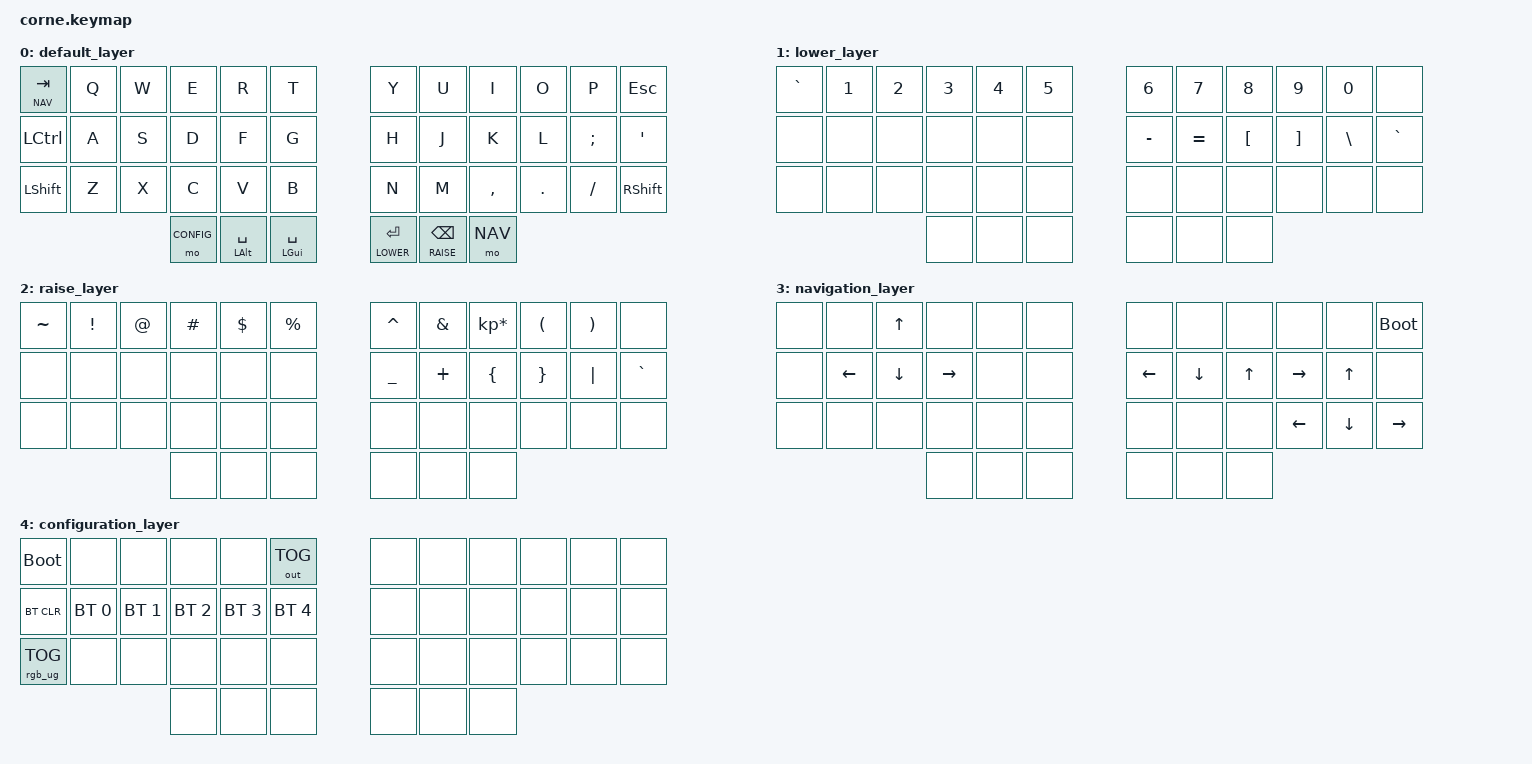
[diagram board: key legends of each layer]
/*
 * Copyright (c) 2020 The ZMK Contributors
 *
 * SPDX-License-Identifier: MIT
 */

#include <behaviors.dtsi>
#include <dt-bindings/zmk/keys.h>
#include <dt-bindings/zmk/bt.h>
#include <dt-bindings/zmk/outputs.h>
#include <dt-bindings/zmk/rgb.h>

#define DEFAULT 0
#define LOWER   1
#define RAISE   2
#define NAV     3
#define CONFIG  4

/ {
        keymap {
                compatible = "zmk,keymap";

                default_layer {
// -----------------------------------------------------------------------------------------
// |  TAB |  Q  |  W  |  E  |  R  |  T  |   |  Y    |  U     |  I  |  O  |  P  | BKSP |
// | CTRL |  A  |  S  |  D  |  F  |  G  |   |  H    |  J     |  K  |  L  |  ;  |  '   |
// | SHFT |  Z  |  X  |  C  |  V  |  B  |   |  N    |  M     |  ,  |  .  |  /  | SHFT |
//         | CONF | LALT-SPC|  LGUI-SPC |   | L-ENT | R-BSPC | N-BSPC |
                        bindings = <
 &lt NAV TAB &kp Q &kp W &kp E &kp R &kp T   &kp Y &kp U  &kp I     &kp O   &kp P    &kp ESC
   &kp LCTRL &kp A &kp S &kp D &kp F &kp G   &kp H &kp J  &kp K     &kp L   &kp SEMI &kp SQT
   &kp LSHFT &kp Z &kp X &kp C &kp V &kp B   &kp N &kp M  &kp COMMA &kp DOT &kp FSLH &kp RSHFT
  &mo CONFIG &mt LALT SPACE &mt LGUI SPACE   &lt LOWER RET &lt RAISE BSPC &mo NAV
                        >;
                };
                lower_layer {
// -----------------------------------------------------------------------------------------
// |   `  |  1  |  2  |  3  |  4  |  5  |   |  6  |  7  |  8  |  9  |  0  | BKSP |
// |      |     |     |     |     |     |   |  -  |  =  |  [  |  ]  |  \  |   `  |
// |      |     |     |     |     |     |   |     |     |     |     |     |      |
//                    |     |     |     |   |     |     |     |
                        bindings = <
   &kp GRAVE  &kp N1       &kp N2       &kp N3       &kp N4       &kp N5            &kp N6    &kp N7    &kp N8   &kp N9   &kp N0   &none
   &none      &none        &none        &none        &none        &none             &kp MINUS &kp EQUAL &kp LBKT &kp RBKT &kp BSLH &kp GRAVE
   &none      &none        &none        &none        &none        &none             &none     &none     &none    &none    &none    &none
                                        &none        &none        &none             &none     &none     &none
                        >;
                };

                raise_layer {
// -----------------------------------------------------------------------------------------
// |  ~   |  !  |  @  |  #  |  $  |  %  |   |  ^  |  &  |  *  |  (  |  )  |      |
// |      |     |     |     |     |     |   |  _  |  +  |  {  |  }  |  |  |  ~   |
// |      |     |     |     |     |     |   |     |     |     |     |     |      | // TODO: Fix this row when &mkp is committed
//                    | GUI |     | SPC |   | ENT |     | ALT |
                        bindings = <
   &kp TILDE &kp EXCL  &kp AT  &kp HASH  &kp DLLR  &kp PRCNT   &kp CARET &kp AMPS  &kp KP_MULTIPLY &kp LPAR       &kp RPAR &none
   &none     &none     &none   &none     &none     &none       &kp UNDER &kp PLUS  &kp LEFT_BRACE  &kp RIGHT_BRACE &kp PIPE &kp GRAVE
   &none     &none     &none   &none     &none     &none       &none     &none     &none           &none          &none    &none
                               &none     &none     &none       &none     &none     &none
                        >;
                };

                navigation_layer {
// -----------------------------------------------------------------------------------------
// |    |      |  UP  |      |     |     |   |      |      |     |      |      |BOOTL|
// |    | LEFT | DOWN |RIGHT |     |     |   | LEFT | DOWN | UP  | RIGHT|  UP  |     |
// |    |      |      |      |     |     |   |      |      |     | LEFT | DOWN |RIGHT|
//                    |      |     |     |   |      |      |     |
                        bindings = <
   &none    &none     &kp UP    &none     &none     &none       &none     &none     &none   &none     &none    &bootloader
   &none    &kp LEFT  &kp DOWN  &kp RIGHT &none     &none       &kp LEFT  &kp DOWN  &kp UP  &kp RIGHT &kp UP   &none
   &none    &none     &none     &none     &none     &none       &none     &none     &none   &kp LEFT  &kp DOWN &kp RIGHT
                                &none     &none     &none       &none     &none     &none
                        >;
                };

                configuration_layer {
// -----------------------------------------------------------------------------------------
// | BOOTL |     |     |     |     |OUT_TOG|   |      |      |     |      |      |     |
// | BTCLR | BT1 | BT2 | BT3 | BT4 | BT5   |   |      |      |     |      |      |     |
// |TOG_RGB|     |     |     |     |       |   |      |      |     |      |      |     |
//                     |     |     |       |   |      |      |     |
                        bindings = <
   &bootloader     &none        &none        &none        &none        &out OUT_TOG    &none     &none     &none   &none    &none    &none
   &bt BT_CLR      &bt BT_SEL 0 &bt BT_SEL 1 &bt BT_SEL 2 &bt BT_SEL 3 &bt BT_SEL 4    &none     &none     &none   &none    &none    &none
   &rgb_ug RGB_TOG &none        &none        &none        &none        &none           &none     &none     &none   &none    &none    &none
                                &none        &none        &none        &none           &none     &none
                        >;
                };
        };
};
